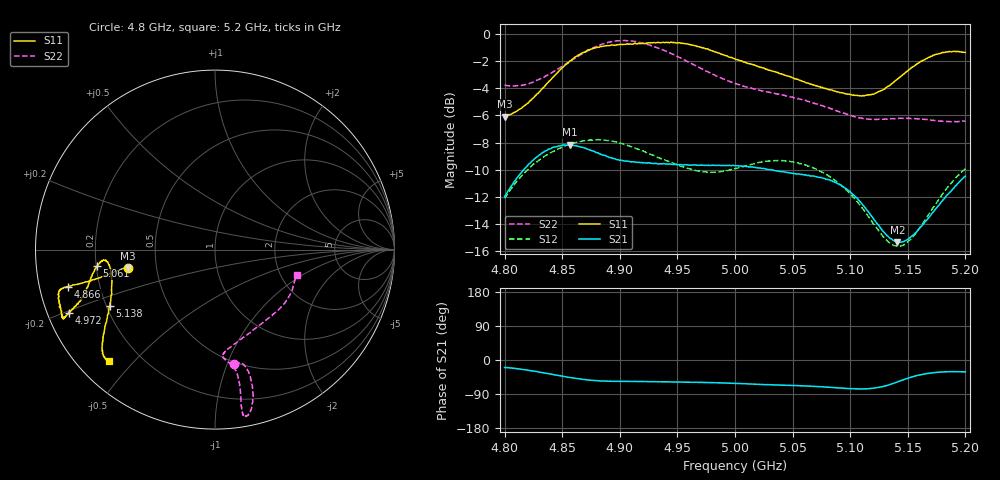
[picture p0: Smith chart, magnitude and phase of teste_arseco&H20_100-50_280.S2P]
! Network Analyzer HP8722D
! Hewlett-Packard
! Data name: Linha & Wilkinson
! Saver's name: Rodrigo Anjos
! Comments: Teste da utilização de aquisição
! continua pelo VNA HP8722D
! Time and date: 6/5/2025 14:54
!  Frequency  S11  S21  S12  S22
# HZ  S  MA R 50
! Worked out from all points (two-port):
!   401 points, 4.8 GHz to 5.2 GHz, reference 50 ohm
!   highest |S21| = -8.16 dB at 4.857 GHz (marker M1); lowest = -15.3 dB at 5.141 GHz (marker M2)
!   |S21| within 3 dB of the highest: 4.806 GHz to 5.092 GHz (286.4 MHz wide, 5.79 % of centre); 5.19169 GHz to end of sweep
!   lowest |S11| = -6.1 dB at 4.8 GHz (marker M3), VSWR 2.97, Z = 17 - j4.59 ohm
!   |S11| at or under -10 dB: nowhere
!   |S22| runs from -6.5 to -0.5 dB; largest |S21 - S12| = 0.62
!   S11 on the Smith chart (normalised r, x): 4.8 GHz: 0.34, -0.09; 4.866 GHz: 0.09, -0.12; 4.972 GHz: 0.06, -0.21; 5.061 GHz: 0.20, -0.07; 5.138 GHz: 0.21, -0.24; 5.2 GHz: 0.09, -0.43
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4.8e9  0.4967 -168.2  0.252 -19.7  0.2484 -140.8  0.6474 -80.4
4.828e9  0.6005 -167.1  0.3531 -30.7  0.3382 -144.9  0.675 -75.4
4.857e9  0.7961 -165.9  0.3909 -46.4  0.3931 -150.3  0.7916 -74.7
4.866e9  0.8454 -165.9  0.3835 -50.4  0.4022 -151.8  0.8379 -75.3
4.867e9  0.849 -165.9  0.3832 -50.8  0.4027 -152.0  0.8423 -75.4
4.899e9  0.9122 -162.9  0.3441 -56.4  0.3981 -156.8  0.9421 -79.1
4.913e9  0.9246 -159.8  0.3378 -56.5  0.3809 -157.0  0.9369 -80.2
4.934e9  0.93 -156.4  0.3324 -57.5  0.3505 -155.6  0.8838 -80.6
4.972e9  0.8867 -156.6  0.3292 -59.0  0.3111 -146.1  0.7407 -79.8
5e9  0.8088 -159.0  0.3276 -61.8  0.3198 -137.2  0.6568 -81.2
5.036e9  0.7218 -165.6  0.3138 -65.9  0.3418 -134.3  0.6018 -85.7
5.061e9  0.6632 -171.9  0.3032 -68.4  0.3296 -136.3  0.5698 -83.9
5.067e9  0.6505 -173.0  0.3007 -69.2  0.3229 -136.7  0.5586 -82.7
5.083e9  0.622 -174.5  0.2888 -72.3  0.2974 -138.3  0.531 -76.7
5.101e9  0.5977 -172.0  0.2602 -75.9  0.2552 -138.8  0.5001 -66.5
5.115e9  0.5965 -166.0  0.224 -75.9  0.2154 -135.8  0.4866 -56.5
5.134e9  0.6438 -154.2  0.178 -65.2  0.1707 -120.8  0.4873 -43.3
5.138e9  0.6659 -151.8  0.1736 -61.2  0.1667 -115.5  0.487 -40.8
5.141e9  0.6814 -150.2  0.1713 -57.8  0.1658 -111.6  0.4884 -39.1
5.154e9  0.755 -144.4  0.1812 -44.3  0.1789 -95.1  0.4879 -32.4
5.173e9  0.8358 -138.9  0.2238 -33.2  0.2326 -80.7  0.4808 -24.2
5.2e9  0.8538 -133.6  0.3 -31.3  0.3193 -76.9  0.4769 -17.6
